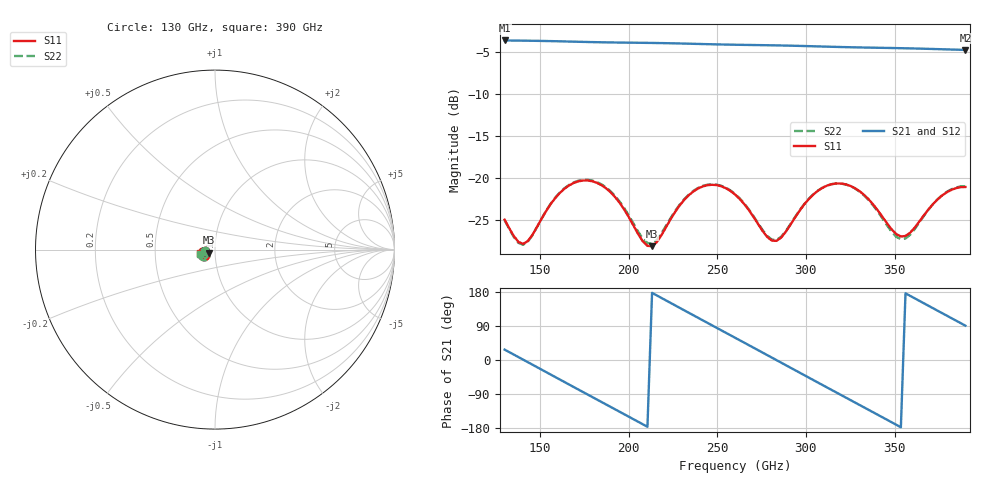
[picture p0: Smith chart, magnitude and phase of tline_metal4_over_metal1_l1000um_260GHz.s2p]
#  GHZ S DB R 50
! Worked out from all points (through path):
!   101 points, 130 GHz to 390 GHz, reference 50 ohm
!   highest |S21| = -3.62 dB at 130 GHz (marker M1); lowest = -4.8 dB at 390 GHz (marker M2)
!   group delay of S21, straight-line fit = 7.02 ps
!   lowest |S11| = -28.2 dB at 213.2 GHz (marker M3), VSWR 1.08, Z = 46.5 - j1.51 ohm
!   |S11| at or under -10 dB: start of sweep to end of sweep
!   |S22| runs from -28.0 to -20.2 dB; largest |S21 - S12| = 1.1e-13
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130  -24.99 -171.6  -3.62 27.4  -3.62 27.4  -25.06 -171.4
140.4  -27.88 -149.0  -3.65 1.1  -3.65 1.1  -27.98 -148.0
150.8  -24.90 -127.7  -3.68 -25.2  -3.68 -25.2  -24.89 -126.4
163.8  -21.30 -137.1  -3.74 -58.2  -3.74 -58.2  -21.24 -135.9
174.2  -20.33 -152.9  -3.79 -84.4  -3.79 -84.4  -20.25 -151.6
192.4  -22.32 -179.0  -3.87 -130.3  -3.87 -130.3  -22.18 -177.6
202.8  -25.73 178.3  -3.89 -156.5  -3.89 -156.5  -25.49 179.8
213.2  -28.15 -155.6  -3.92 177.2  -3.92 177.2  -27.83 -155.4
218.4  -26.87 -141.4  -3.94 164.0  -3.94 164.0  -26.65 -141.7
239.2  -21.27 -148.9  -4.04 111.3  -4.04 111.3  -21.21 -148.6
249.6  -20.87 -163.8  -4.09 85.1  -4.09 85.1  -20.82 -163.3
260  -21.99 -177.4  -4.13 58.9  -4.13 58.9  -21.92 -176.7
273  -25.51 178.4  -4.18 26.0  -4.18 26.0  -25.41 179.1
283.4  -27.52 -158.7  -4.21 -0.3  -4.21 -0.3  -27.41 -158.3
304.2  -21.99 -145.7  -4.32 -52.9  -4.32 -52.9  -21.97 -145.3
314.6  -20.76 -158.5  -4.38 -79.2  -4.38 -79.2  -20.76 -158.1
325  -20.96 -172.7  -4.43 -105.4  -4.43 -105.4  -20.98 -172.3
348.4  -26.16 -179.8  -4.52 -164.3  -4.52 -164.3  -26.44 -178.8
356.2  -26.94 -161.7  -4.56 175.9  -4.56 175.9  -27.23 -159.1
366.6  -24.47 -147.1  -4.61 149.6  -4.61 149.6  -24.54 -143.8
379.6  -21.71 -154.3  -4.69 116.8  -4.69 116.8  -21.66 -151.3
390  -21.09 -166.8  -4.75 90.6  -4.75 90.6  -21.00 -163.9
